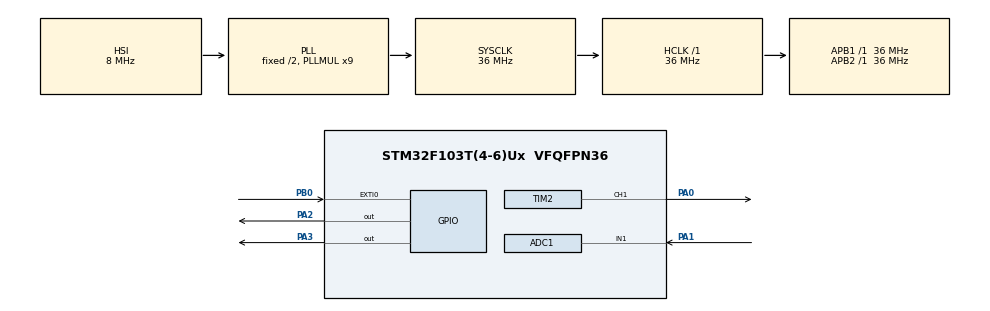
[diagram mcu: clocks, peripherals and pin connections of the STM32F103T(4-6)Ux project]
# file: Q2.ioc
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ADC1.Channel-0\#ChannelRegularConversion=ADC_CHANNEL_1
ADC1.NbrOfConversionFlag=1
ADC1.Rank-0\#ChannelRegularConversion=1
ADC1.SamplingTime-0\#ChannelRegularConversion=ADC_SAMPLETIME_1CYCLE_5
ADC1.master=1
Mcu.Family=STM32F1
Mcu.Name=STM32F103T(4-6)Ux
Mcu.Package=VFQFPN36
NVIC.EXTI0_IRQn=true\:0\:0\:false\:false\:true\:true\:true\:true
NVIC.PriorityGroup=NVIC_PRIORITYGROUP_4
PA0-WKUP.Signal=S_TIM2_CH1_ETR
PA1.Signal=ADCx_IN1
PA2.Signal=GPIO_Output
PA3.Signal=GPIO_Output
PB0.GPIO_PuPd=GPIO_PULLDOWN
PB0.Signal=GPXTI0
ProjectManager.HeapSize=0x200
ProjectManager.StackSize=0x400
ProjectManager.TargetToolchain=STM32CubeIDE
RCC.ADCPresc=RCC_ADCPCLK2_DIV4
RCC.AHBFreq_Value=36000000
RCC.APB1Freq_Value=36000000
RCC.APB1TimFreq_Value=36000000
RCC.APB2Freq_Value=36000000
RCC.APB2TimFreq_Value=36000000
RCC.HCLKFreq_Value=36000000
RCC.PLLMUL=RCC_PLL_MUL9
RCC.SYSCLKFreq_VALUE=36000000
RCC.SYSCLKSource=RCC_SYSCLKSOURCE_PLLCLK
RCC.USBFreq_Value=36000000
SH.ADCx_IN1.0=ADC1_IN1,IN1
SH.S_TIM2_CH1_ETR.0=TIM2_CH1,PWM Generation1 CH1
TIM2.Channel-PWM\ Generation1\ CH1=TIM_CHANNEL_1
TIM2.Prescaler=35
VP_SYS_VS_ND.Mode=No_Debug
VP_TIM2_VS_ClockSourceINT.Mode=Internal
board=custom

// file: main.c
/* USER CODE BEGIN Header */
/**
  ******************************************************************************
  * @file           : main.c
  * @brief          : Main program body
  ******************************************************************************
  * @attention
  *
  * Copyright (c) 2026 STMicroelectronics.
  * All rights reserved.
  *
  * This software is licensed under terms that can be found in the LICENSE file
  * in the root directory of this software component.
  * If no LICENSE file comes with this software, it is provided AS-IS.
  *
  ******************************************************************************
  */
/* USER CODE END Header */
#include "main.h"

ADC_HandleTypeDef hadc1;

TIM_HandleTypeDef htim2;

/* USER CODE BEGIN PV */
volatile uint8_t motorDirection = 0;
uint32_t adcValue = 0;
uint32_t pwmValue = 0;
/* USER CODE END PV */

void SystemClock_Config(void);
static void MX_GPIO_Init(void);
static void MX_ADC1_Init(void);
static void MX_TIM2_Init(void);

int main(void)
{

  /* MCU Configuration--------------------------------------------------------*/

  /* Reset of all peripherals, Initializes the Flash interface and the Systick. */
  HAL_Init();

  /* Configure the system clock */
  SystemClock_Config();

  /* Initialize all configured peripherals */
  MX_GPIO_Init();
  MX_ADC1_Init();
  MX_TIM2_Init();
  /* USER CODE BEGIN 2 */
  HAL_TIM_PWM_Start(&htim2, TIM_CHANNEL_1);
  /* USER CODE END 2 */

  /* Infinite loop */
  /* USER CODE BEGIN WHILE */
  while (1)
  {
	  HAL_ADC_Start(&hadc1);
	  if (HAL_ADC_PollForConversion(&hadc1, 10) == HAL_OK) {
	      adcValue = HAL_ADC_GetValue(&hadc1);
	  }
	  HAL_ADC_Stop(&hadc1);

	  pwmValue = (adcValue * 1000) / 4095;
	  __HAL_TIM_SET_COMPARE(&htim2, TIM_CHANNEL_1, pwmValue);

	  if (motorDirection == 0) {
	      HAL_GPIO_WritePin(GPIOA, GPIO_PIN_2, GPIO_PIN_SET);
	      HAL_GPIO_WritePin(GPIOA, GPIO_PIN_3, GPIO_PIN_RESET);
	  } else {
	      HAL_GPIO_WritePin(GPIOA, GPIO_PIN_2, GPIO_PIN_RESET);
	      HAL_GPIO_WritePin(GPIOA, GPIO_PIN_3, GPIO_PIN_SET);
	  }

	  HAL_Delay(10);
    /* USER CODE END WHILE */
  }
}

void SystemClock_Config(void)
{
  RCC_OscInitTypeDef RCC_OscInitStruct = {0};
  RCC_ClkInitTypeDef RCC_ClkInitStruct = {0};
  RCC_PeriphCLKInitTypeDef PeriphClkInit = {0};

  /** Initializes the RCC Oscillators according to the specified parameters
  * in the RCC_OscInitTypeDef structure.
  */
  RCC_OscInitStruct.OscillatorType = RCC_OSCILLATORTYPE_HSI;
  RCC_OscInitStruct.HSIState = RCC_HSI_ON;
  RCC_OscInitStruct.HSICalibrationValue = RCC_HSICALIBRATION_DEFAULT;
  RCC_OscInitStruct.PLL.PLLState = RCC_PLL_ON;
  RCC_OscInitStruct.PLL.PLLSource = RCC_PLLSOURCE_HSI_DIV2;
  RCC_OscInitStruct.PLL.PLLMUL = RCC_PLL_MUL9;
  if (HAL_RCC_OscConfig(&RCC_OscInitStruct) != HAL_OK)
  {
    Error_Handler();
  }

  /** Initializes the CPU, AHB and APB buses clocks
  */
  RCC_ClkInitStruct.ClockType = RCC_CLOCKTYPE_HCLK|RCC_CLOCKTYPE_SYSCLK
                              |RCC_CLOCKTYPE_PCLK1|RCC_CLOCKTYPE_PCLK2;
  RCC_ClkInitStruct.SYSCLKSource = RCC_SYSCLKSOURCE_PLLCLK;
  RCC_ClkInitStruct.AHBCLKDivider = RCC_SYSCLK_DIV1;
  RCC_ClkInitStruct.APB1CLKDivider = RCC_HCLK_DIV1;
  RCC_ClkInitStruct.APB2CLKDivider = RCC_HCLK_DIV1;

  if (HAL_RCC_ClockConfig(&RCC_ClkInitStruct, FLASH_LATENCY_1) != HAL_OK)
  {
    Error_Handler();
  }
  PeriphClkInit.PeriphClockSelection = RCC_PERIPHCLK_ADC;
  PeriphClkInit.AdcClockSelection = RCC_ADCPCLK2_DIV4;
  if (HAL_RCCEx_PeriphCLKConfig(&PeriphClkInit) != HAL_OK)
  {
    Error_Handler();
  }
}

static void MX_ADC1_Init(void)
{

  ADC_ChannelConfTypeDef sConfig = {0};

  /** Common config
  */
  hadc1.Instance = ADC1;
  hadc1.Init.ScanConvMode = ADC_SCAN_DISABLE;
  hadc1.Init.ContinuousConvMode = DISABLE;
  hadc1.Init.DiscontinuousConvMode = DISABLE;
  hadc1.Init.ExternalTrigConv = ADC_SOFTWARE_START;
  hadc1.Init.DataAlign = ADC_DATAALIGN_RIGHT;
  hadc1.Init.NbrOfConversion = 1;
  if (HAL_ADC_Init(&hadc1) != HAL_OK)
  {
    Error_Handler();
  }

  /** Configure Regular Channel
  */
  sConfig.Channel = ADC_CHANNEL_1;
  sConfig.Rank = ADC_REGULAR_RANK_1;
  sConfig.SamplingTime = ADC_SAMPLETIME_1CYCLE_5;
  if (HAL_ADC_ConfigChannel(&hadc1, &sConfig) != HAL_OK)
  {
    Error_Handler();
  }

}

static void MX_TIM2_Init(void)
{

  TIM_ClockConfigTypeDef sClockSourceConfig = {0};
  TIM_MasterConfigTypeDef sMasterConfig = {0};
  TIM_OC_InitTypeDef sConfigOC = {0};

  htim2.Instance = TIM2;
  htim2.Init.Prescaler = 35;
  htim2.Init.CounterMode = TIM_COUNTERMODE_UP;
  htim2.Init.Period = 65535;
  htim2.Init.ClockDivision = TIM_CLOCKDIVISION_DIV1;
  htim2.Init.AutoReloadPreload = TIM_AUTORELOAD_PRELOAD_DISABLE;
  if (HAL_TIM_Base_Init(&htim2) != HAL_OK)
  {
    Error_Handler();
  }
  sClockSourceConfig.ClockSource = TIM_CLOCKSOURCE_INTERNAL;
  if (HAL_TIM_ConfigClockSource(&htim2, &sClockSourceConfig) != HAL_OK)
  {
    Error_Handler();
  }
  if (HAL_TIM_PWM_Init(&htim2) != HAL_OK)
  {
    Error_Handler();
  }
  sMasterConfig.MasterOutputTrigger = TIM_TRGO_RESET;
  sMasterConfig.MasterSlaveMode = TIM_MASTERSLAVEMODE_DISABLE;
  if (HAL_TIMEx_MasterConfigSynchronization(&htim2, &sMasterConfig) != HAL_OK)
  {
    Error_Handler();
  }
  sConfigOC.OCMode = TIM_OCMODE_PWM1;
  sConfigOC.Pulse = 0;
  sConfigOC.OCPolarity = TIM_OCPOLARITY_HIGH;
  sConfigOC.OCFastMode = TIM_OCFAST_DISABLE;
  if (HAL_TIM_PWM_ConfigChannel(&htim2, &sConfigOC, TIM_CHANNEL_1) != HAL_OK)
  {
    Error_Handler();
  }
  HAL_TIM_MspPostInit(&htim2);

}

static void MX_GPIO_Init(void)
{
  GPIO_InitTypeDef GPIO_InitStruct = {0};

  /* GPIO Ports Clock Enable */
  __HAL_RCC_GPIOA_CLK_ENABLE();
  __HAL_RCC_GPIOB_CLK_ENABLE();

  /*Configure GPIO pin Output Level */
  HAL_GPIO_WritePin(GPIOA, GPIO_PIN_2|GPIO_PIN_3, GPIO_PIN_RESET);

  /*Configure GPIO pins : PA2 PA3 */
  GPIO_InitStruct.Pin = GPIO_PIN_2|GPIO_PIN_3;
  GPIO_InitStruct.Mode = GPIO_MODE_OUTPUT_PP;
  GPIO_InitStruct.Pull = GPIO_NOPULL;
  GPIO_InitStruct.Speed = GPIO_SPEED_FREQ_LOW;
  HAL_GPIO_Init(GPIOA, &GPIO_InitStruct);

  /*Configure GPIO pin : PB0 */
  GPIO_InitStruct.Pin = GPIO_PIN_0;
  GPIO_InitStruct.Mode = GPIO_MODE_IT_RISING;
  GPIO_InitStruct.Pull = GPIO_PULLDOWN;
  HAL_GPIO_Init(GPIOB, &GPIO_InitStruct);

  /* EXTI interrupt init*/
  HAL_NVIC_SetPriority(EXTI0_IRQn, 0, 0);
  HAL_NVIC_EnableIRQ(EXTI0_IRQn);

}

/* USER CODE BEGIN 4 */
void HAL_GPIO_EXTI_Callback(uint16_t GPIO_Pin) {
    if (GPIO_Pin == GPIO_PIN_0) {
        motorDirection = !motorDirection;
    }
}
/* USER CODE END 4 */

void Error_Handler(void)
{
  __disable_irq();
  while (1)
  {
  }
}
